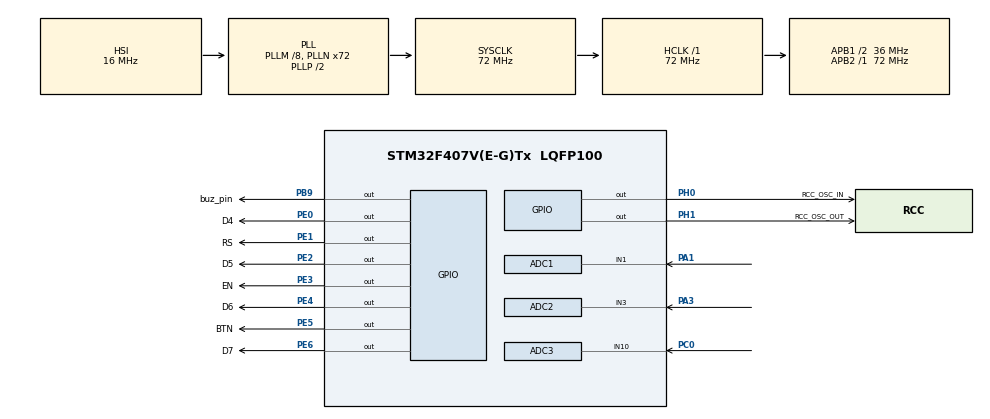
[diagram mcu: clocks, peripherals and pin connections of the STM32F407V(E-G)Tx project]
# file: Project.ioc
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ADC1.Channel-0\#ChannelRegularConversion=ADC_CHANNEL_1
ADC1.NbrOfConversionFlag=1
ADC1.Rank-0\#ChannelRegularConversion=1
ADC1.SamplingTime-0\#ChannelRegularConversion=ADC_SAMPLETIME_3CYCLES
ADC1.master=1
ADC2.Channel-5\#ChannelRegularConversion=ADC_CHANNEL_3
ADC2.ContinuousConvMode=ENABLE
ADC2.EnableAnalogWatchDog=false
ADC2.InjNumberOfConversion=0
ADC2.NbrOfConversionFlag=1
ADC2.Rank-5\#ChannelRegularConversion=1
ADC2.SamplingTime-5\#ChannelRegularConversion=ADC_SAMPLETIME_3CYCLES
ADC2.ScanConvMode=ENABLE
ADC3.Channel-0\#ChannelRegularConversion=ADC_CHANNEL_10
ADC3.NbrOfConversionFlag=1
ADC3.Rank-0\#ChannelRegularConversion=1
ADC3.SamplingTime-0\#ChannelRegularConversion=ADC_SAMPLETIME_3CYCLES
Mcu.Family=STM32F4
Mcu.Name=STM32F407V(E-G)Tx
Mcu.Package=LQFP100
NVIC.PriorityGroup=NVIC_PRIORITYGROUP_4
PA1.Signal=ADCx_IN1
PA3.Signal=ADCx_IN3
PB9.GPIO_Label=buz_pin
PB9.Signal=GPIO_Output
PC0.Signal=ADCx_IN10
PE0.GPIO_Label=D4
PE0.Signal=GPIO_Output
PE1.GPIO_Label=RS
PE1.Signal=GPIO_Output
PE2.GPIO_Label=D5
PE2.Signal=GPIO_Output
PE3.GPIO_Label=EN
PE3.Signal=GPIO_Output
PE4.GPIO_Label=D6
PE4.Signal=GPIO_Output
PE5.GPIO_Label=BTN
PE5.Signal=GPIO_Output
PE6.GPIO_Label=D7
PE6.Signal=GPIO_Output
PH0-OSC_IN.GPIO_Label=RCC_OSC_IN
PH0-OSC_IN.Signal=GPIO_Output
PH1-OSC_OUT.GPIO_Label=RCC_OSC_OUT
PH1-OSC_OUT.Signal=GPIO_Output
ProjectManager.HeapSize=0x200
ProjectManager.StackSize=0x400
ProjectManager.TargetToolchain=STM32CubeIDE
RCC.48MHZClocksFreq_Value=36000000
RCC.AHBFreq_Value=72000000
RCC.APB1CLKDivider=RCC_HCLK_DIV2
RCC.APB1Freq_Value=36000000
RCC.APB1TimFreq_Value=72000000
RCC.APB2Freq_Value=72000000
RCC.APB2TimFreq_Value=72000000
RCC.CortexFreq_Value=72000000
RCC.HCLKFreq_Value=72000000
RCC.HSE_VALUE=25000000
RCC.HSI_VALUE=16000000
RCC.LSE_VALUE=32768
RCC.PLLM=8
RCC.PLLN=72
RCC.SYSCLKFreq_VALUE=72000000
RCC.SYSCLKSource=RCC_SYSCLKSOURCE_PLLCLK
RCC.VCOOutputFreq_Value=144000000
SH.ADCx_IN1.0=ADC1_IN1,IN1
SH.ADCx_IN10.0=ADC3_IN10,IN10
SH.ADCx_IN3.0=ADC2_IN3,IN3
TIM1.Period=0xffff-1
TIM1.Prescaler=72-1
VP_TIM1_VS_ClockSourceINT.Mode=Internal
board=custom

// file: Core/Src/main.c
/* USER CODE BEGIN Header */
/**
 ******************************************************************************
 * @file           : main.c
 * @brief          : Main program body
 ******************************************************************************
 * @attention
 *
 * Copyright (c) 2023 STMicroelectronics.
 * All rights reserved.
 *
 * This software is licensed under terms that can be found in the LICENSE file
 * in the root directory of this software component.
 * If no LICENSE file comes with this software, it is provided AS-IS.
 *
 ******************************************************************************
 */
/* USER CODE END Header */
#include "main.h"
#include "lcd.h"

ADC_HandleTypeDef hadc1;
ADC_HandleTypeDef hadc2;
ADC_HandleTypeDef hadc3;

TIM_HandleTypeDef htim1;

long map(long x, long in_min, long in_max, long out_min, long out_max) {
  return (x - in_min) * (out_max - out_min) / (in_max - in_min) + out_min;
}

void SystemClock_Config(void);
static void MX_GPIO_Init(void);
static void MX_TIM1_Init(void);
static void MX_ADC1_Init(void);
static void MX_ADC2_Init(void);
static void MX_ADC3_Init(void);

int main(void)
{
  /* USER CODE BEGIN 1 */
	char txt[30];//water sensor
	char txt2 [30];//temperature sensor
	char txt3 [30];//max lvl
	int Vout, temp;
  /* USER CODE END 1 */

  /* MCU Configuration--------------------------------------------------------*/

  /* Reset of all peripherals, Initializes the Flash interface and the Systick. */
  HAL_Init();

  /* Configure the system clock */
  SystemClock_Config();

  /* USER CODE BEGIN SysInit */
//  int sensor = HAL_GPIO_ReadPin(sen_pin_GPIO_Port, sen_pin_Pin);
  /* USER CODE END SysInit */

  /* Initialize all configured peripherals */
  MX_GPIO_Init();
  MX_TIM1_Init();
  MX_ADC1_Init();
  MX_ADC2_Init();
  MX_ADC3_Init();
  /* USER CODE BEGIN 2 */
	lcd_init_4bits(RS_GPIO_Port, RS_Pin, EN_Pin, D4_GPIO_Port, D4_Pin, D5_Pin, D6_Pin, D7_Pin);
	HAL_Delay(2000);
	lcd_clear();
	lcd_cursorShow(0);
//    lcd_shiftRight(3);
	lcd_printf("G-11");
	HAL_Delay(2000);
	lcd_clear();
	//   lcd_printf("Sensor: ", sensor);
//    lcd_printf(sensor);
	HAL_Delay(0);
//    lcd_clear();
	uint16_t adcVal;
	uint16_t adcVal2;
	uint16_t adcVal3;
  /* USER CODE END 2 */
	int val;
  /* Infinite loop */
	while (1) {
			HAL_ADC_Start(&hadc1);
			HAL_ADC_PollForConversion(&hadc1, 100);
			adcVal = HAL_ADC_GetValue(&hadc1);
			adcVal = adcVal / 1;
			adcVal = map(adcVal, 0, 4095, 0, 40);
			HAL_ADC_Stop(&hadc1);
			HAL_Delay(1000);

			HAL_ADC_Start(&hadc2);
			HAL_ADC_PollForConversion(&hadc2, 100);
			adcVal2 = HAL_ADC_GetValue(&hadc2);
			//		  int Vout = (adc)/
			//		  adcVal2 = adcVal2;
			Vout = (adcVal2*500)/4096.0;
			temp = (Vout/5) + 20;
			HAL_ADC_Stop(&hadc2);
			HAL_Delay(1000);

			HAL_ADC_Start(&hadc3);
			HAL_ADC_PollForConversion(&hadc3, 100);
			adcVal3 = HAL_ADC_GetValue(&hadc3);
			val = map(adcVal3,0, 4095, 0, 40);
			//		  int Vout = (adc)/
			//		  adcVal2 = adcVal2;

	//	  	  percent = ((float)adcVal/4000)*100;
			sprintf(txt, "%d", (int) adcVal);
	//	  	  if (display_state){
			lcd_clear();
			lcd_printf("Level:");
			lcd_setCursor(0, 7);
			lcd_printf(txt);
			lcd_setCursor(0, 10);
			lcd_printf(" mm ");

			lcd_2ndLine();
			sprintf(txt2, "%d", (int) temp);
	//		  lcd_clear();
			lcd_printf("Temp : ");
			lcd_setCursor(1, 7);
	//		  lcd_2ndLine();
			lcd_printf(txt2);
			lcd_setCursor(1, 10);
			lcd_printf(" C* ");

			sprintf(txt3, "%d", (int) val);
			HAL_Delay(2000);
			lcd_clear();
			lcd_printf("Max Level : ");
			lcd_setCursor(1, 11);
	//		  lcd_2ndLine();
			lcd_printf(txt3);
			if (val >= 155) {
				HAL_GPIO_WritePin(buz_pin_GPIO_Port, buz_pin_Pin, 1);
			} else {

				HAL_GPIO_WritePin(buz_pin_GPIO_Port, buz_pin_Pin, 0);
			}
	//	  	  } else {
	//	  		  lcd_clear();
	//	  		  lcd_printf("temp:");
	//	  	  }
			/* USER CODE BEGIN 3 */
			//
		}
  /* USER CODE END 3 */
}

void SystemClock_Config(void)
{
  RCC_OscInitTypeDef RCC_OscInitStruct = {0};
  RCC_ClkInitTypeDef RCC_ClkInitStruct = {0};

  /** Configure the main internal regulator output voltage
  */
  __HAL_RCC_PWR_CLK_ENABLE();
  __HAL_PWR_VOLTAGESCALING_CONFIG(PWR_REGULATOR_VOLTAGE_SCALE1);

  /** Initializes the RCC Oscillators according to the specified parameters
  * in the RCC_OscInitTypeDef structure.
  */
  RCC_OscInitStruct.OscillatorType = RCC_OSCILLATORTYPE_HSI;
  RCC_OscInitStruct.HSIState = RCC_HSI_ON;
  RCC_OscInitStruct.HSICalibrationValue = RCC_HSICALIBRATION_DEFAULT;
  RCC_OscInitStruct.PLL.PLLState = RCC_PLL_ON;
  RCC_OscInitStruct.PLL.PLLSource = RCC_PLLSOURCE_HSI;
  RCC_OscInitStruct.PLL.PLLM = 8;
  RCC_OscInitStruct.PLL.PLLN = 72;
  RCC_OscInitStruct.PLL.PLLP = RCC_PLLP_DIV2;
  RCC_OscInitStruct.PLL.PLLQ = 4;
  if (HAL_RCC_OscConfig(&RCC_OscInitStruct) != HAL_OK)
  {
    Error_Handler();
  }

  /** Initializes the CPU, AHB and APB buses clocks
  */
  RCC_ClkInitStruct.ClockType = RCC_CLOCKTYPE_HCLK|RCC_CLOCKTYPE_SYSCLK
                              |RCC_CLOCKTYPE_PCLK1|RCC_CLOCKTYPE_PCLK2;
  RCC_ClkInitStruct.SYSCLKSource = RCC_SYSCLKSOURCE_PLLCLK;
  RCC_ClkInitStruct.AHBCLKDivider = RCC_SYSCLK_DIV1;
  RCC_ClkInitStruct.APB1CLKDivider = RCC_HCLK_DIV2;
  RCC_ClkInitStruct.APB2CLKDivider = RCC_HCLK_DIV1;

  if (HAL_RCC_ClockConfig(&RCC_ClkInitStruct, FLASH_LATENCY_2) != HAL_OK)
  {
    Error_Handler();
  }
}

static void MX_ADC1_Init(void)
{

  ADC_ChannelConfTypeDef sConfig = {0};

  /** Configure the global features of the ADC (Clock, Resolution, Data Alignment and number of conversion)
  */
  hadc1.Instance = ADC1;
  hadc1.Init.ClockPrescaler = ADC_CLOCK_SYNC_PCLK_DIV2;
  hadc1.Init.Resolution = ADC_RESOLUTION_12B;
  hadc1.Init.ScanConvMode = DISABLE;
  hadc1.Init.ContinuousConvMode = DISABLE;
  hadc1.Init.DiscontinuousConvMode = DISABLE;
  hadc1.Init.ExternalTrigConvEdge = ADC_EXTERNALTRIGCONVEDGE_NONE;
  hadc1.Init.ExternalTrigConv = ADC_SOFTWARE_START;
  hadc1.Init.DataAlign = ADC_DATAALIGN_RIGHT;
  hadc1.Init.NbrOfConversion = 1;
  hadc1.Init.DMAContinuousRequests = DISABLE;
  hadc1.Init.EOCSelection = ADC_EOC_SINGLE_CONV;
  if (HAL_ADC_Init(&hadc1) != HAL_OK)
  {
    Error_Handler();
  }

  /** Configure for the selected ADC regular channel its corresponding rank in the sequencer and its sample time.
  */
  sConfig.Channel = ADC_CHANNEL_1;
  sConfig.Rank = 1;
  sConfig.SamplingTime = ADC_SAMPLETIME_3CYCLES;
  if (HAL_ADC_ConfigChannel(&hadc1, &sConfig) != HAL_OK)
  {
    Error_Handler();
  }

}

static void MX_ADC2_Init(void)
{

  ADC_ChannelConfTypeDef sConfig = {0};

  /** Configure the global features of the ADC (Clock, Resolution, Data Alignment and number of conversion)
  */
  hadc2.Instance = ADC2;
  hadc2.Init.ClockPrescaler = ADC_CLOCK_SYNC_PCLK_DIV2;
  hadc2.Init.Resolution = ADC_RESOLUTION_12B;
  hadc2.Init.ScanConvMode = ENABLE;
  hadc2.Init.ContinuousConvMode = ENABLE;
  hadc2.Init.DiscontinuousConvMode = DISABLE;
  hadc2.Init.ExternalTrigConvEdge = ADC_EXTERNALTRIGCONVEDGE_NONE;
  hadc2.Init.ExternalTrigConv = ADC_SOFTWARE_START;
  hadc2.Init.DataAlign = ADC_DATAALIGN_RIGHT;
  hadc2.Init.NbrOfConversion = 1;
  hadc2.Init.DMAContinuousRequests = DISABLE;
  hadc2.Init.EOCSelection = ADC_EOC_SINGLE_CONV;
  if (HAL_ADC_Init(&hadc2) != HAL_OK)
  {
    Error_Handler();
  }

  /** Configure for the selected ADC regular channel its corresponding rank in the sequencer and its sample time.
  */
  sConfig.Channel = ADC_CHANNEL_3;
  sConfig.Rank = 1;
  sConfig.SamplingTime = ADC_SAMPLETIME_3CYCLES;
  if (HAL_ADC_ConfigChannel(&hadc2, &sConfig) != HAL_OK)
  {
    Error_Handler();
  }

}

static void MX_ADC3_Init(void)
{

  ADC_ChannelConfTypeDef sConfig = {0};

  /** Configure the global features of the ADC (Clock, Resolution, Data Alignment and number of conversion)
  */
  hadc3.Instance = ADC3;
  hadc3.Init.ClockPrescaler = ADC_CLOCK_SYNC_PCLK_DIV2;
  hadc3.Init.Resolution = ADC_RESOLUTION_12B;
  hadc3.Init.ScanConvMode = DISABLE;
  hadc3.Init.ContinuousConvMode = DISABLE;
  hadc3.Init.DiscontinuousConvMode = DISABLE;
  hadc3.Init.ExternalTrigConvEdge = ADC_EXTERNALTRIGCONVEDGE_NONE;
  hadc3.Init.ExternalTrigConv = ADC_SOFTWARE_START;
  hadc3.Init.DataAlign = ADC_DATAALIGN_RIGHT;
  hadc3.Init.NbrOfConversion = 1;
  hadc3.Init.DMAContinuousRequests = DISABLE;
  hadc3.Init.EOCSelection = ADC_EOC_SINGLE_CONV;
  if (HAL_ADC_Init(&hadc3) != HAL_OK)
  {
    Error_Handler();
  }

  /** Configure for the selected ADC regular channel its corresponding rank in the sequencer and its sample time.
  */
  sConfig.Channel = ADC_CHANNEL_10;
  sConfig.Rank = 1;
  sConfig.SamplingTime = ADC_SAMPLETIME_3CYCLES;
  if (HAL_ADC_ConfigChannel(&hadc3, &sConfig) != HAL_OK)
  {
    Error_Handler();
  }

}

static void MX_TIM1_Init(void)
{

  TIM_ClockConfigTypeDef sClockSourceConfig = {0};
  TIM_MasterConfigTypeDef sMasterConfig = {0};

  htim1.Instance = TIM1;
  htim1.Init.Prescaler = 72-1;
  htim1.Init.CounterMode = TIM_COUNTERMODE_UP;
  htim1.Init.Period = 0xffff-1;
  htim1.Init.ClockDivision = TIM_CLOCKDIVISION_DIV1;
  htim1.Init.RepetitionCounter = 0;
  htim1.Init.AutoReloadPreload = TIM_AUTORELOAD_PRELOAD_DISABLE;
  if (HAL_TIM_Base_Init(&htim1) != HAL_OK)
  {
    Error_Handler();
  }
  sClockSourceConfig.ClockSource = TIM_CLOCKSOURCE_INTERNAL;
  if (HAL_TIM_ConfigClockSource(&htim1, &sClockSourceConfig) != HAL_OK)
  {
    Error_Handler();
  }
  sMasterConfig.MasterOutputTrigger = TIM_TRGO_RESET;
  sMasterConfig.MasterSlaveMode = TIM_MASTERSLAVEMODE_DISABLE;
  if (HAL_TIMEx_MasterConfigSynchronization(&htim1, &sMasterConfig) != HAL_OK)
  {
    Error_Handler();
  }

}

static void MX_GPIO_Init(void)
{
  GPIO_InitTypeDef GPIO_InitStruct = {0};

  /* GPIO Ports Clock Enable */
  __HAL_RCC_GPIOE_CLK_ENABLE();
  __HAL_RCC_GPIOH_CLK_ENABLE();
  __HAL_RCC_GPIOC_CLK_ENABLE();
  __HAL_RCC_GPIOA_CLK_ENABLE();
  __HAL_RCC_GPIOB_CLK_ENABLE();

  /*Configure GPIO pin Output Level */
  HAL_GPIO_WritePin(GPIOE, D5_Pin|EN_Pin|D6_Pin|BTN_Pin
                          |D7_Pin|D4_Pin|RS_Pin, GPIO_PIN_RESET);

  /*Configure GPIO pin Output Level */
  HAL_GPIO_WritePin(GPIOH, RCC_OSC_IN_Pin|RCC_OSC_OUT_Pin, GPIO_PIN_RESET);

  /*Configure GPIO pin Output Level */
  HAL_GPIO_WritePin(buz_pin_GPIO_Port, buz_pin_Pin, GPIO_PIN_RESET);

  /*Configure GPIO pins : D5_Pin EN_Pin D6_Pin BTN_Pin
                           D7_Pin D4_Pin RS_Pin */
  GPIO_InitStruct.Pin = D5_Pin|EN_Pin|D6_Pin|BTN_Pin
                          |D7_Pin|D4_Pin|RS_Pin;
  GPIO_InitStruct.Mode = GPIO_MODE_OUTPUT_PP;
  GPIO_InitStruct.Pull = GPIO_NOPULL;
  GPIO_InitStruct.Speed = GPIO_SPEED_FREQ_LOW;
  HAL_GPIO_Init(GPIOE, &GPIO_InitStruct);

  /*Configure GPIO pins : RCC_OSC_IN_Pin RCC_OSC_OUT_Pin */
  GPIO_InitStruct.Pin = RCC_OSC_IN_Pin|RCC_OSC_OUT_Pin;
  GPIO_InitStruct.Mode = GPIO_MODE_OUTPUT_PP;
  GPIO_InitStruct.Pull = GPIO_NOPULL;
  GPIO_InitStruct.Speed = GPIO_SPEED_FREQ_LOW;
  HAL_GPIO_Init(GPIOH, &GPIO_InitStruct);

  /*Configure GPIO pin : buz_pin_Pin */
  GPIO_InitStruct.Pin = buz_pin_Pin;
  GPIO_InitStruct.Mode = GPIO_MODE_OUTPUT_PP;
  GPIO_InitStruct.Pull = GPIO_NOPULL;
  GPIO_InitStruct.Speed = GPIO_SPEED_FREQ_LOW;
  HAL_GPIO_Init(buz_pin_GPIO_Port, &GPIO_InitStruct);

}

void Error_Handler(void)
{
	__disable_irq();
	while (1) {
	}
}
